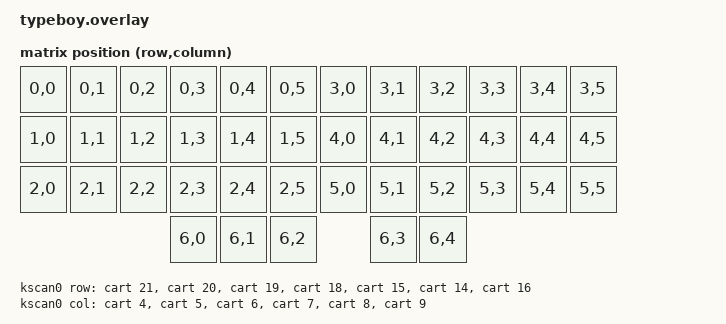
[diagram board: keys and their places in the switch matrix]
#include <dt-bindings/zmk/matrix_transform.h>
#include <dt-bindings/zmk/pointing.h>
#include <input/processors.dtsi>

#include "typeboy.dtsi"

&cart_spi {
    status = "okay";
    cs-gpios = <&cart 19 GPIO_ACTIVE_LOW>;

    glidepoint: glidepoint@0 {
        compatible = "cirque,pinnacle";
        reg = <0>;
        spi-max-frequency = <1000000>;
        status = "okay";
        dr-gpios = <&cart 5 (GPIO_ACTIVE_HIGH)>;

        sensitivity = "4x";
        sleep;
        no-taps;
        //x-invert;
        //x-axis-z-min = <8>;
        //y-axis-z-min = <8>;
    };
};

&typeboy_layout {
    transform = <&default_transform>;
};

/ { 
    glidepoint_listener: glidepoint_listener {
        compatible = "zmk,input-listener";
        status = "okay";
        device = <&glidepoint>;
        //input-processors = <&zip_xy_scaler 4 2>;
        // input-processors = <&zip_xy_transform (INPUT_TRANSFORM_XY_SWAP | INPUT_TRANSFORM_X_INVERT | INPUT_TRANSFORM_Y_INVERT)>;
    };

    chosen {
        zmk,kscan = &kscan0;
        zmk,physical-layout = &typeboy_layout;
    };

    default_transform: keymap_transform_0 {
        compatible = "zmk,matrix-transform";
        columns = <6>;
        rows = <7>;

        map = <
RC(0,0) RC(0,1) RC(0,2) RC(0,3) RC(0,4) RC(0,5) RC(3,0) RC(3,1) RC(3,2) RC(3,3) RC(3,4) RC(3,5)
RC(1,0) RC(1,1) RC(1,2) RC(1,3) RC(1,4) RC(1,5) RC(4,0) RC(4,1) RC(4,2) RC(4,3) RC(4,4) RC(4,5)
RC(2,0) RC(2,1) RC(2,2) RC(2,3) RC(2,4) RC(2,5) RC(5,0) RC(5,1) RC(5,2) RC(5,3) RC(5,4) RC(5,5)
                        RC(6,0)    RC(6,1)  RC(6,2)  RC(6,3)    RC(6,4)
        >;
    };

    kscan0: kscan_0 {
        compatible = "zmk,kscan-gpio-matrix";
        wakeup-source;

        diode-direction = "col2row";

        col-gpios
            = <&cart 4 GPIO_ACTIVE_HIGH>
            , <&cart 5 GPIO_ACTIVE_HIGH>
            , <&cart 6 GPIO_ACTIVE_HIGH>
            , <&cart 7 GPIO_ACTIVE_HIGH>
            , <&cart 8 GPIO_ACTIVE_HIGH>
            , <&cart 9 GPIO_ACTIVE_HIGH>
            ;

        row-gpios
            = <&cart 21 (GPIO_ACTIVE_HIGH | GPIO_PULL_DOWN)>
            , <&cart 20 (GPIO_ACTIVE_HIGH | GPIO_PULL_DOWN)>
            , <&cart 19 (GPIO_ACTIVE_HIGH | GPIO_PULL_DOWN)>
            , <&cart 18 (GPIO_ACTIVE_HIGH | GPIO_PULL_DOWN)>
            , <&cart 15 (GPIO_ACTIVE_HIGH | GPIO_PULL_DOWN)>
            , <&cart 14 (GPIO_ACTIVE_HIGH | GPIO_PULL_DOWN)>
            , <&cart 16 (GPIO_ACTIVE_HIGH | GPIO_PULL_DOWN)>
            ;
    };
};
